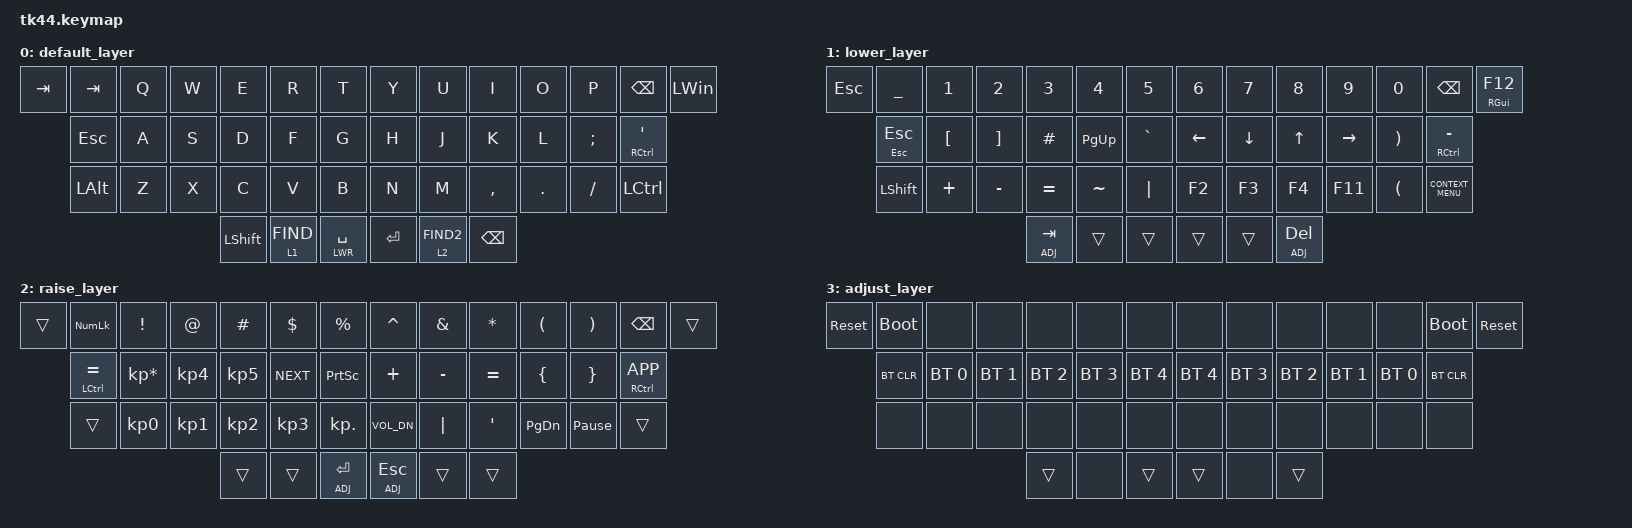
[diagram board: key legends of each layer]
/*
 * Copyright (c) 2022 The ZMK Contributors
 *
 * SPDX-License-Identifier: MIT
 */

#include <behaviors.dtsi>
#include <dt-bindings/zmk/bt.h>
#include <dt-bindings/zmk/keys.h>

#define DEF 0
#define LWR 1
#define RSE 2
#define ADJ 3

&lt { quick_tap_ms = <200>; };

&mt { quick_tap_ms = <200>; };

/ {
    keymap {
        compatible = "zmk,keymap";

        default_layer {
            // -----------------------------------------------------------------------------------------
            // |  GUI |   ~  |  Q  |  W  |  E  |  R  |  T  |   |  Y  |  U   |  I  |  O  |  P  |  [   | GUI/] |
            //        | CTRL |  A  |  S  |  D  |  F  |  G  |   |  H  |  J   |  K  |  L  |  ;  |CTRL/'|
            //        | LALT |  Z  |  X  |  C  |  V  |  B  |   |  N  |  M   |  ,  |  .  |  /  | RALT |
            //                           | RSE | SPC | LWR |   | LWR | BKSP | RSE |

            bindings = <
&kp TAB  &kp TAB       &kp Q  &kp W  &kp E      &kp R         &kp T            &kp Y      &kp U          &kp I          &kp O    &kp P     &kp BACKSPACE  &kp LWIN
         &kp ESCAPE    &kp A  &kp S  &kp D      &kp F         &kp G            &kp H      &kp J          &kp K          &kp L    &kp SEMI  &mt RCTRL SQT
         &kp LEFT_ALT  &kp Z  &kp X  &kp C      &kp V         &kp B            &kp N      &kp M          &kp COMMA      &kp DOT  &kp FSLH  &kp LCTRL
                                     &kp LSHFT  &lt 1 K_FIND  &lt LWR SPACE    &kp ENTER  &lt 2 K_FIND2  &kp BACKSPACE
            >;
        };

        lower_layer {
            // -----------------------------------------------------------------------------------------
            // |     |  _  |  F1 |  F2 |  F3 |  F4 |  F5 |   |  F6 |  F7 |  F8 |  F9 | F10 | F11 | F12 |
            //       |  +  |  !  |  @  |  #  |  $  |  %  |   |  ^  |  &  |  *  |  (  |  )  |  -  |
            //       |  =  |  1  |  2  |  3  |  4  |  5  |   |  6  |  7  |  8  |  9  |  0  |     |
            //                    | GUI |     | SPC |   | ENT |     | ALT |

            bindings = <
&kp ESCAPE  &kp UNDER          &kp NUMBER_1      &kp NUMBER_2       &kp NUMBER_3  &kp NUMBER_4  &kp N5       &kp NUMBER_6    &kp N7    &kp N8        &kp N9     &kp N0                &kp BACKSPACE       &mt RGUI F12
            &mt ESCAPE ESCAPE  &kp LEFT_BRACKET  &kp RIGHT_BRACKET  &kp HASH      &kp PG_UP     &kp GRAVE    &kp LEFT_ARROW  &kp DOWN  &kp UP_ARROW  &kp RIGHT  &kp RPAR              &mt RCTRL MINUS
            &kp LSHFT          &kp PLUS          &kp MINUS          &kp EQUAL     &kp TILDE     &kp PIPE     &kp F2          &kp F3    &kp F4        &kp F11    &kp LEFT_PARENTHESIS  &kp K_CONTEXT_MENU
                                                                    &lt ADJ TAB   &trans        &trans       &trans          &trans    &lt ADJ DEL
            >;
        };

        raise_layer {
            // -----------------------------------------------------------------------------------------
            // |     | NMLK |  /  |  7  |  8  |  9  |  -  |   | VOLU| HOME| PRSC| PGUP| SCLK| CLCK|     |
            //       | CTRL |  *  |  4  |  5  |  6  |  +  |   | MUT | LEFT|  UP | RGHT| INS | APP |
            //       |      |  0  |  1  |  2  |  3  |  .  |   | VOLD| END | DOWN| PGDN| PAUS|     |
            //                          |     |     | ADJ |   | ADJ |     |     |

            bindings = <
&trans  &kp KP_NUM       &kp EXCLAMATION  &kp AT_SIGN  &kp HASH   &kp DOLLAR  &kp PERCENT        &kp CARET     &kp AMPERSAND  &kp ASTERISK  &kp LEFT_PARENTHESIS  &kp RIGHT_PARENTHESIS  &kp BACKSPACE    &trans
        &mt LCTRL EQUAL  &kp KP_MULTIPLY  &kp KP_N4    &kp KP_N5  &kp C_NEXT  &kp PRINTSCREEN    &kp PLUS      &kp MINUS      &kp EQUAL     &kp LEFT_BRACE        &kp RIGHT_BRACE        &mt RCTRL K_APP
        &trans           &kp KP_N0        &kp KP_N1    &kp KP_N2  &kp KP_N3   &kp KP_DOT         &kp C_VOL_DN  &kp PIPE       &kp APOS      &kp PG_DN             &kp PAUSE_BREAK        &trans
                                                       &trans     &trans      &lt ADJ RET        &lt ADJ ESC   &trans         &trans
            >;
        };

        adjust_layer {
            // -----------------------------------------------------------------------------------------
            // | RST | BLDR |     |     |     |     |     |   |     |     |     |     |     | BLDR | RST |
            //       | BTCLR| BT0 | BT1 | BT2 | BT3 | BT4 |   | BT4 | BT3 | BT2 | BT1 | BT0 | BTCLR|
            //       |      |     |     |     |     |     |   |     |     |     |     |     |      |
            //                          |     |     |     |   |     |     |     |

            bindings = <
&sys_reset  &bootloader  &none         &none         &none         &none         &none           &none         &none         &none         &none         &none         &bootloader  &sys_reset
            &bt BT_CLR   &bt BT_SEL 0  &bt BT_SEL 1  &bt BT_SEL 2  &bt BT_SEL 3  &bt BT_SEL 4    &bt BT_SEL 4  &bt BT_SEL 3  &bt BT_SEL 2  &bt BT_SEL 1  &bt BT_SEL 0  &bt BT_CLR
            &none        &none         &none         &none         &none         &none           &none         &none         &none         &none         &none         &none
                                                     &trans        &none         &trans          &trans        &none         &trans
            >;
        };
    };
};
